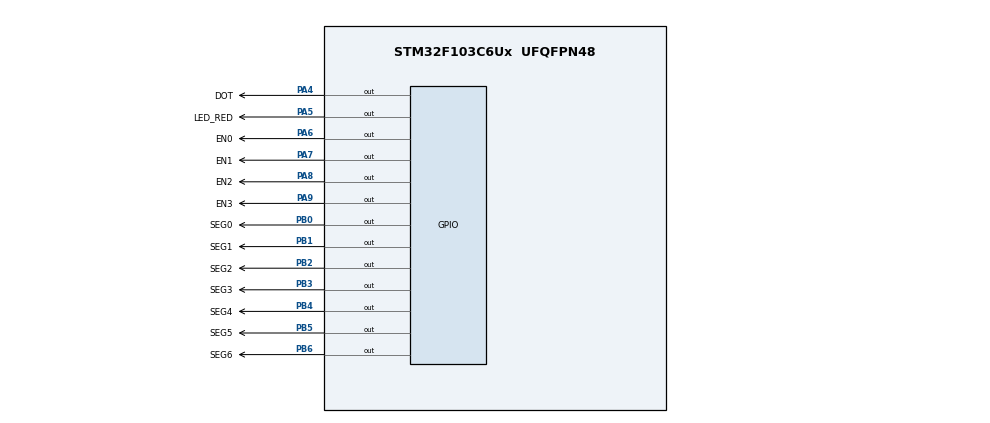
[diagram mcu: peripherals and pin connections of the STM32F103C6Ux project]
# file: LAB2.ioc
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Mcu.Family=STM32F1
Mcu.Name=STM32F103C6Ux
Mcu.Package=UFQFPN48
NVIC.PriorityGroup=NVIC_PRIORITYGROUP_4
NVIC.TIM2_IRQn=true\:0\:0\:false\:false\:true\:true\:true
PA13.Mode=Serial_Wire
PA13.Signal=SYS_JTMS-SWDIO
PA14.Mode=Serial_Wire
PA14.Signal=SYS_JTCK-SWCLK
PA4.GPIO_Label=DOT
PA4.Signal=GPIO_Output
PA5.GPIO_Label=LED_RED
PA5.Signal=GPIO_Output
PA6.GPIO_Label=EN0
PA6.Signal=GPIO_Output
PA7.GPIO_Label=EN1
PA7.Signal=GPIO_Output
PA8.GPIO_Label=EN2
PA8.Signal=GPIO_Output
PA9.GPIO_Label=EN3
PA9.Signal=GPIO_Output
PB0.GPIO_Label=SEG0
PB0.Signal=GPIO_Output
PB1.GPIO_Label=SEG1
PB1.Signal=GPIO_Output
PB2.GPIO_Label=SEG2
PB2.Signal=GPIO_Output
PB3.GPIO_Label=SEG3
PB3.Signal=GPIO_Output
PB4.GPIO_Label=SEG4
PB4.Signal=GPIO_Output
PB5.GPIO_Label=SEG5
PB5.Signal=GPIO_Output
PB6.GPIO_Label=SEG6
PB6.Signal=GPIO_Output
ProjectManager.HeapSize=0x200
ProjectManager.StackSize=0x400
ProjectManager.TargetToolchain=STM32CubeIDE
RCC.APB1Freq_Value=8000000
RCC.APB2Freq_Value=8000000
TIM2.Period=9
TIM2.Prescaler=7999
VP_TIM2_VS_ClockSourceINT.Mode=Internal
board=custom

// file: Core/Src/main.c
/* USER CODE BEGIN Header */
/**
  ******************************************************************************
  * @file           : main.c
  * @brief          : Main program body
  ******************************************************************************
  * @attention
  *
  * <h2><center>&copy; Copyright (c) 2024 STMicroelectronics.
  * All rights reserved.</center></h2>
  *
  * This software component is licensed by ST under BSD 3-Clause license,
  * the "License"; You may not use this file except in compliance with the
  * License. You may obtain a copy of the License at:
  *                        opensource.org/licenses/BSD-3-Clause
  *
  ******************************************************************************
  */
/* USER CODE END Header */
#include "main.h"

/* USER CODE BEGIN Includes */
#include "software_timer.h"
#include "Display7SEG.h"
/* USER CODE END Includes */

/* USER CODE BEGIN PD */
#define DURATION_0 100
#define DURATION_1 25
#define DURATION_2 100
#define DURATION_3 100
/* USER CODE END PD */

TIM_HandleTypeDef htim2;

void SystemClock_Config(void);
static void MX_GPIO_Init(void);
static void MX_TIM2_Init(void);

/* USER CODE BEGIN 0 */
int led_index = 0;
int led_buffer[LED_NUMBER] = {1, 2, 3, 4};
/* USER CODE END 0 */

int main(void)
{

  /* MCU Configuration--------------------------------------------------------*/

  /* Reset of all peripherals, Initializes the Flash interface and the Systick. */
  HAL_Init();

  /* Configure the system clock */
  SystemClock_Config();

  /* Initialize all configured peripherals */
  MX_GPIO_Init();
  MX_TIM2_Init();
  /* USER CODE BEGIN 2 */

  HAL_TIM_Base_Start_IT(&htim2);

  HAL_GPIO_WritePin(LED_RED_GPIO_Port, LED_RED_Pin, RESET);
  HAL_GPIO_WritePin(DOT_GPIO_Port, DOT_Pin, RESET);

  setTimer0(DURATION_0);
  setTimer1(DURATION_1);
  setTimer2(DURATION_2);
  setTimer3(DURATION_3);
  /* USER CODE END 2 */

  /* Infinite loop */
  /* USER CODE BEGIN WHILE */
  while (1)
  {
	  updateClockBuffer();
	  update7SEG(led_index);
	  Display7SEG(led_buffer[led_index]);

	  if (timer0_flag == 1) {
		  setTimer0(DURATION_0);
		  HAL_GPIO_TogglePin(LED_RED_GPIO_Port, LED_RED_Pin);
	  }

	  if (timer1_flag == 1) {
		  setTimer1(DURATION_1);
		  led_index = (led_index + 1) % LED_NUMBER;
		}

	  if (timer2_flag == 1) {
		  setTimer2(DURATION_2);
		  HAL_GPIO_TogglePin(DOT_GPIO_Port, DOT_Pin);
	  }

//	  if (timer3_flag == 1) {
//		  setTimer3(DURATION_3);
//		  second++;
//		  if (second >= 60) {
//			  second = 0;
//			  minute++;
//		  }
//		  if (minute >= 60) {
//			  minute = 0;
//			  hour++;
//		  }
//		  if (hour >= 24) {
//			  hour = 0;
//		  }
//	  }
    /* USER CODE END WHILE */

  }
}

void SystemClock_Config(void)
{
  RCC_OscInitTypeDef RCC_OscInitStruct = {0};
  RCC_ClkInitTypeDef RCC_ClkInitStruct = {0};

  /** Initializes the RCC Oscillators according to the specified parameters
  * in the RCC_OscInitTypeDef structure.
  */
  RCC_OscInitStruct.OscillatorType = RCC_OSCILLATORTYPE_HSI;
  RCC_OscInitStruct.HSIState = RCC_HSI_ON;
  RCC_OscInitStruct.HSICalibrationValue = RCC_HSICALIBRATION_DEFAULT;
  RCC_OscInitStruct.PLL.PLLState = RCC_PLL_NONE;
  if (HAL_RCC_OscConfig(&RCC_OscInitStruct) != HAL_OK)
  {
    Error_Handler();
  }
  /** Initializes the CPU, AHB and APB buses clocks
  */
  RCC_ClkInitStruct.ClockType = RCC_CLOCKTYPE_HCLK|RCC_CLOCKTYPE_SYSCLK
                              |RCC_CLOCKTYPE_PCLK1|RCC_CLOCKTYPE_PCLK2;
  RCC_ClkInitStruct.SYSCLKSource = RCC_SYSCLKSOURCE_HSI;
  RCC_ClkInitStruct.AHBCLKDivider = RCC_SYSCLK_DIV1;
  RCC_ClkInitStruct.APB1CLKDivider = RCC_HCLK_DIV1;
  RCC_ClkInitStruct.APB2CLKDivider = RCC_HCLK_DIV1;

  if (HAL_RCC_ClockConfig(&RCC_ClkInitStruct, FLASH_LATENCY_0) != HAL_OK)
  {
    Error_Handler();
  }
}

static void MX_TIM2_Init(void)
{

  TIM_ClockConfigTypeDef sClockSourceConfig = {0};
  TIM_MasterConfigTypeDef sMasterConfig = {0};

  htim2.Instance = TIM2;
  htim2.Init.Prescaler = 7999;
  htim2.Init.CounterMode = TIM_COUNTERMODE_UP;
  htim2.Init.Period = 9;
  htim2.Init.ClockDivision = TIM_CLOCKDIVISION_DIV1;
  htim2.Init.AutoReloadPreload = TIM_AUTORELOAD_PRELOAD_DISABLE;
  if (HAL_TIM_Base_Init(&htim2) != HAL_OK)
  {
    Error_Handler();
  }
  sClockSourceConfig.ClockSource = TIM_CLOCKSOURCE_INTERNAL;
  if (HAL_TIM_ConfigClockSource(&htim2, &sClockSourceConfig) != HAL_OK)
  {
    Error_Handler();
  }
  sMasterConfig.MasterOutputTrigger = TIM_TRGO_RESET;
  sMasterConfig.MasterSlaveMode = TIM_MASTERSLAVEMODE_DISABLE;
  if (HAL_TIMEx_MasterConfigSynchronization(&htim2, &sMasterConfig) != HAL_OK)
  {
    Error_Handler();
  }

}

static void MX_GPIO_Init(void)
{
  GPIO_InitTypeDef GPIO_InitStruct = {0};

  /* GPIO Ports Clock Enable */
  __HAL_RCC_GPIOA_CLK_ENABLE();
  __HAL_RCC_GPIOB_CLK_ENABLE();

  /*Configure GPIO pin Output Level */
  HAL_GPIO_WritePin(GPIOA, DOT_Pin|LED_RED_Pin|EN0_Pin|EN1_Pin
                          |EN2_Pin|EN3_Pin, GPIO_PIN_RESET);

  /*Configure GPIO pin Output Level */
  HAL_GPIO_WritePin(GPIOB, SEG0_Pin|SEG1_Pin|SEG2_Pin|SEG3_Pin
                          |SEG4_Pin|SEG5_Pin|SEG6_Pin, GPIO_PIN_RESET);

  /*Configure GPIO pins : DOT_Pin LED_RED_Pin EN0_Pin EN1_Pin
                           EN2_Pin EN3_Pin */
  GPIO_InitStruct.Pin = DOT_Pin|LED_RED_Pin|EN0_Pin|EN1_Pin
                          |EN2_Pin|EN3_Pin;
  GPIO_InitStruct.Mode = GPIO_MODE_OUTPUT_PP;
  GPIO_InitStruct.Pull = GPIO_NOPULL;
  GPIO_InitStruct.Speed = GPIO_SPEED_FREQ_LOW;
  HAL_GPIO_Init(GPIOA, &GPIO_InitStruct);

  /*Configure GPIO pins : SEG0_Pin SEG1_Pin SEG2_Pin SEG3_Pin
                           SEG4_Pin SEG5_Pin SEG6_Pin */
  GPIO_InitStruct.Pin = SEG0_Pin|SEG1_Pin|SEG2_Pin|SEG3_Pin
                          |SEG4_Pin|SEG5_Pin|SEG6_Pin;
  GPIO_InitStruct.Mode = GPIO_MODE_OUTPUT_PP;
  GPIO_InitStruct.Pull = GPIO_NOPULL;
  GPIO_InitStruct.Speed = GPIO_SPEED_FREQ_LOW;
  HAL_GPIO_Init(GPIOB, &GPIO_InitStruct);

}

/* USER CODE BEGIN 4 */
void HAL_TIM_PeriodElapsedCallback(TIM_HandleTypeDef *htim)
 {
	timerRun();
 }
/* USER CODE END 4 */

void Error_Handler(void)
{
  __disable_irq();
  while (1)
  {
  }
}

/************************ (C) COPYRIGHT STMicroelectronics *****END OF FILE****/
